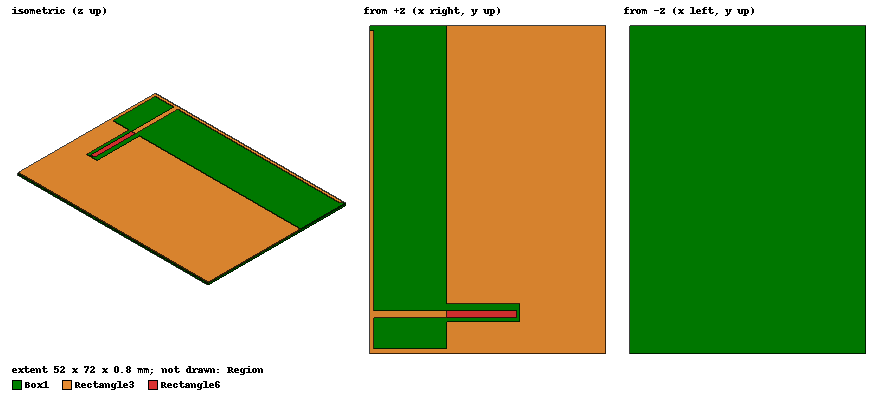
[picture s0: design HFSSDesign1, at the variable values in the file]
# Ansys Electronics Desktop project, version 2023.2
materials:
  vacuum: permittivity=1
  FR4_epoxy: permittivity=4.4 dielectric_loss_tangent=0.02
  air: permittivity=1.0006 permeability=1.0000004

design HFSSDesign1 (HFSS, HFSS Terminal Network, model units mm)
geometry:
  Rectangle1 = rectangle(corner=(0mm, 0mm, 0mm), x_size=17mm, y_size=1mm)
  Rectangle2 = rectangle(corner=(0mm, 1mm, 0mm), x_size=1mm, y_size=70mm)
  Rectangle3 = rectangle(corner=(1mm, 8mm, 0mm), x_size=16mm, y_size=1.479mm)
  Rectangle2.unite(Rectangle1)
  Rectangle4 = rectangle(corner=(17mm, 0mm, 0mm), x_size=35mm, y_size=72mm)
  Box1 [FR4_epoxy] = box(corner=(0mm, 0mm, 0mm), size=(52mm, 72mm, -0.8mm))
  Region [air] = region(absolute_offset=10mm on all sides)
  Rectangle5 = rectangle(corner=(17mm, 7mm, 0mm), x_size=16mm, y_size=4mm)
  Rectangle4.subtract(Rectangle5)
  Rectangle6 = rectangle(corner=(17mm, 8mm, 0mm), x_size=15.46mm, y_size=1.479mm)
  Rectangle3.unite(Rectangle2)
  Rectangle3.unite(Rectangle4)
  Rectangle7 = rectangle(corner=(0.8mm, 1mm, 0mm), x_size=-0.8mm, y_size=-0.2mm)
  Rectangle3.unite(Rectangle7)
  Rectangle8 = rectangle(corner=(0.8mm, 8mm, 0mm), x_size=0.2mm, y_size=1.479mm)
  Rectangle3.unite(Rectangle8)
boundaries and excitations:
  Rad1: Radiation Objects=Region
  PerfE1: Perfect E Objects=Rectangle3
  1: Lumped Port Objects=Rectangle6 LumpedPortType=Modal Modes{Mode1{IntLine{(24.73, 8.7395, 0) -> (17, 8.7395, 0)} CharImp=Zpi}} Impedance=50ohm
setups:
  Setup1: HfssDriven Frequency=0.866GHz MaxDeltaS=0.02 MaximumPasses=6 MinimumPasses=1 MinimumConvergedPasses=1 PercentRefinement=30 BasisOrder=1 PortAccuracy=2 DrivenSolverType="Direct Solver"
    sweep Sweep: 0.433GHz to 1.299GHz, 401 points; Type=Interpolating InterpTolerance=0.5 InterpMaxSolns=250 PassivityErrorTolerance=0.0001
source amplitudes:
  1:1: 1V 0deg
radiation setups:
  Infinite Sphere1: Infinite Sphere Theta=-180deg..180deg step 10deg Phi=0deg..360deg step 10deg
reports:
  Terminal S Parameter Plot 1: dB(St(1,1)) vs Freq on Setup1 : Sweep; markers m1 at 0.980745GHz
